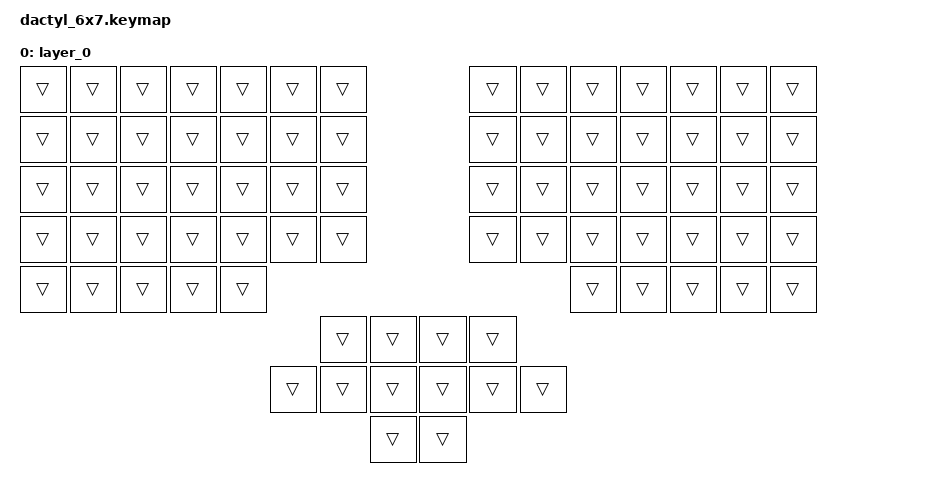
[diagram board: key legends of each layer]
#include <behaviors.dtsi>

#define DEFAULT 0
#define LWR 1
#define RSE 2
#define ADJ 3

/ {
    keymap {
        compatible = "zmk,keymap";

        layer_0 {
            bindings = <
        &trans  &trans  &trans  &trans  &trans  &trans  &trans                             &trans  &trans  &trans  &trans  &trans  &trans  &trans
        &trans  &trans  &trans  &trans  &trans  &trans  &trans                             &trans  &trans  &trans  &trans  &trans  &trans  &trans
        &trans  &trans  &trans  &trans  &trans  &trans  &trans                             &trans  &trans  &trans  &trans  &trans  &trans  &trans
&trans  &trans  &trans  &trans  &trans  &trans  &trans                                             &trans  &trans  &trans  &trans  &trans  &trans  &trans
        &trans  &trans  &trans  &trans  &trans                                                             &trans  &trans  &trans  &trans  &trans
                                                        &trans  &trans            &trans  &trans
                                                &trans  &trans  &trans            &trans  &trans  &trans
                                                                &trans            &trans
            >;
        };
    };
};
